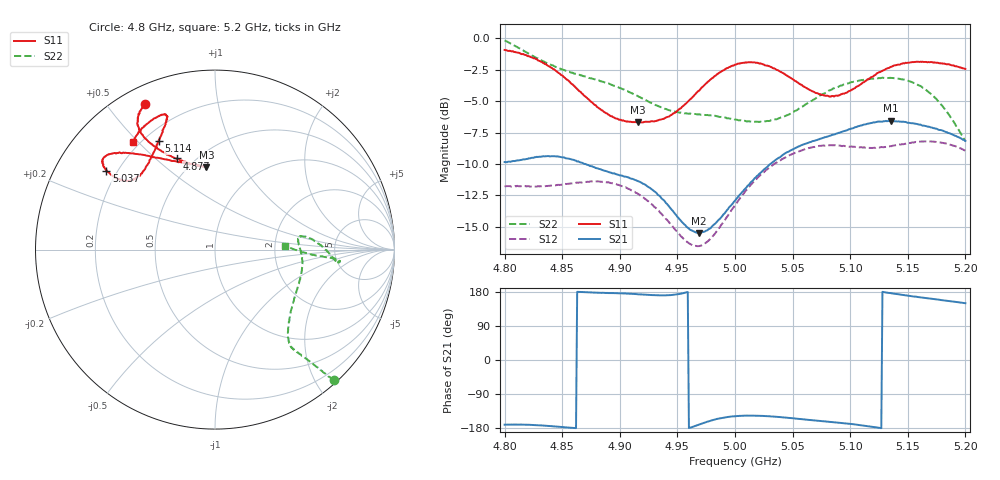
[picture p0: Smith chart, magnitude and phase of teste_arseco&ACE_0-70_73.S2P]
! Network Analyzer HP8722D
! Hewlett-Packard
! Data name: Linha & Wilkinson
! Saver's name: Rodrigo Anjos
! Comments: Teste da utilização de aquisição
! continua pelo VNA HP8722D
! Time and date: 8/5/2025 13:22
!  Frequency  S11  S21  S12  S22
# HZ  S  MA R 50
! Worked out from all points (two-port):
!   401 points, 4.8 GHz to 5.2 GHz, reference 50 ohm
!   highest |S21| = -6.54 dB at 5.135 GHz (marker M1); lowest = -15.5 dB at 4.969 GHz (marker M2)
!   |S21| within 3 dB of the highest: 4.822 GHz to 4.853 GHz (31.24 MHz wide, 0.646 % of centre); 5.037 GHz to end of sweep (the widest 2 of 3)
!   lowest |S11| = -6.7 dB at 4.916 GHz (marker M3), VSWR 2.73, Z = 30 + j35.2 ohm
!   |S11| at or under -10 dB: nowhere
!   |S22| runs from -8.2 to -0.2 dB; largest |S21 - S12| = 0.83
!   S11 on the Smith chart (normalised r, x): 4.8 GHz: 0.07, +0.63; 4.877 GHz: 0.40, +0.59; 5.037 GHz: 0.16, +0.32; 5.114 GHz: 0.26, +0.58; 5.2 GHz: 0.17, +0.48
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4.8e9  0.9002 115.6  0.3222 -170.7  0.2582 -86.2  0.9821 -47.6
4.834e9  0.7979 122.2  0.3397 -173.1  0.258 -77.1  0.8099 -49.8
4.849e9  0.7154 121.8  0.3371 -176.7  0.2616 -72.2  0.7557 -50.7
4.867e9  0.6049 117.4  0.3202 179.2  0.267 -67.8  0.7122 -51.7
4.877e9  0.5508 112.8  0.3079 178.1  0.2697 -66.7  0.6899 -52.0
4.9e9  0.4743 100.7  0.285 176.1  0.26 -67.1  0.6347 -50.3
4.916e9  0.4633 95.9  0.2702 173.4  0.2402 -68.9  0.5882 -45.8
4.934e9  0.4739 99.5  0.2371 170.6  0.2057 -69.9  0.5367 -37.0
4.957e9  0.5483 115.8  0.1804 178.0  0.1567 -60.1  0.5041 -22.0
4.969e9  0.6203 124.0  0.1681 -170.2  0.1491 -46.8  0.499 -14.8
4.98e9  0.6944 129.8  0.1786 -159.2  0.1618 -34.2  0.4938 -9.1
5e9  0.7864 137.1  0.226 -148.4  0.2173 -21.6  0.4754 -0.2
5.018e9  0.8007 141.5  0.2798 -146.9  0.2742 -18.8  0.4667 5.9
5.037e9  0.7485 144.0  0.3327 -150.1  0.3224 -18.9  0.479 8.9
5.067e9  0.6165 141.7  0.39 -158.8  0.3692 -21.2  0.5658 4.2
5.088e9  0.5924 132.4  0.4182 -164.7  0.3748 -24.4  0.6391 -2.2
5.114e9  0.6804 117.4  0.456 -173.9  0.3672 -27.2  0.6857 -5.8
5.134e9  0.7647 110.8  0.4686 177.0  0.3717 -29.4  0.6964 -5.3
5.135e9  0.7709 110.7  0.4709 176.5  0.373 -29.4  0.6973 -5.2
5.163e9  0.808 112.8  0.4499 164.5  0.3889 -36.4  0.6363 -3.9
5.18e9  0.7949 118.8  0.4304 157.8  0.3846 -41.7  0.5392 -3.0
5.2e9  0.7563 127.3  0.391 149.9  0.358 -47.2  0.389 3.2
